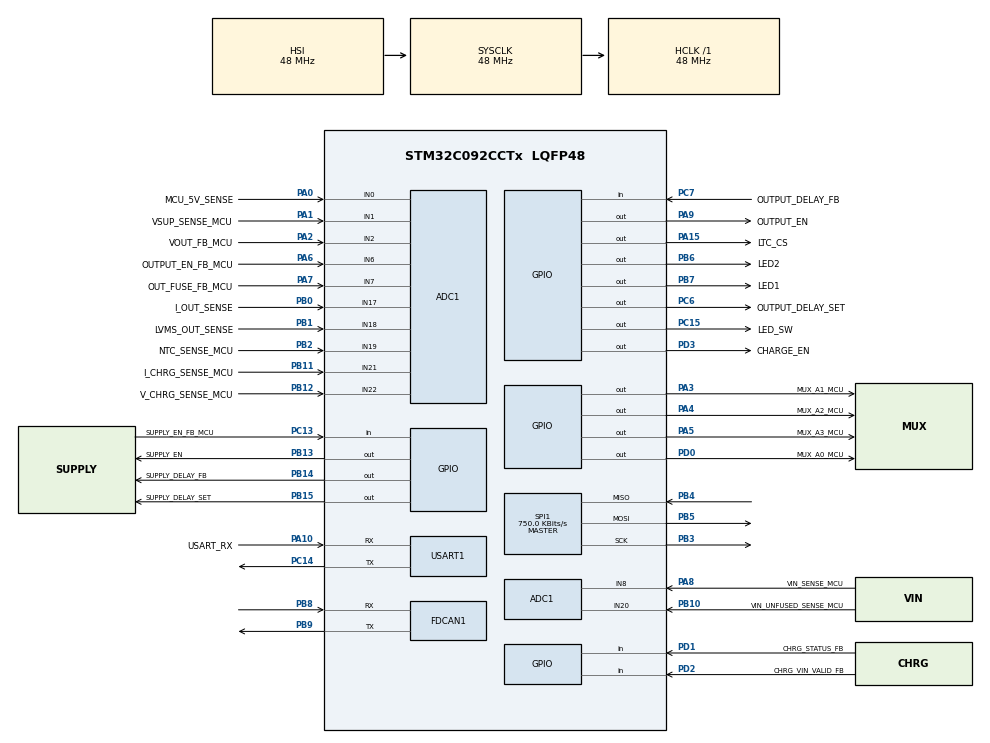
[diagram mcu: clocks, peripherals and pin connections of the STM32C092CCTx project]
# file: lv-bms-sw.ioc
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ADC1.ContinuousConvMode=DISABLE
ADC1.DMAContinuousRequests=ENABLE
ADC1.EOCSelection=ADC_EOC_SEQ_CONV
ADC1.NbrOfConversionFlag=0
ADC1.OversamplingMode=DISABLE
ADC1.SamplingTimeCommon1=ADC_SAMPLETIME_160CYCLES_5
ADC1.SelectedChannel=ADC_CHANNEL_0|ADC_CHANNEL_1|ADC_CHANNEL_2|ADC_CHANNEL_6|ADC_CHANNEL_7|ADC_CHANNEL_TEMPSENSOR|ADC_CHANNEL_VREFINT|ADC_CHANNEL_8|ADC_CHANNEL_VDDA|ADC_CHANNEL_VSSA|ADC_CHANNEL_17|ADC_CHANNEL_18|ADC_CHANNEL_19|ADC_CHANNEL_20|ADC_CHANNEL_21|ADC_CHANNEL_22
ADC1.Sequencer=NOT_FULLY_CONFIGURABLE
ADC1.master=1
Dma.ADC1.0.Direction=DMA_PERIPH_TO_MEMORY
Dma.ADC1.0.EventEnable=DISABLE
Dma.ADC1.0.Instance=DMA1_Channel1
Dma.ADC1.0.MemDataAlignment=DMA_MDATAALIGN_HALFWORD
Dma.ADC1.0.MemInc=DMA_MINC_ENABLE
Dma.ADC1.0.Mode=DMA_NORMAL
Dma.ADC1.0.PeriphDataAlignment=DMA_PDATAALIGN_HALFWORD
Dma.ADC1.0.PeriphInc=DMA_PINC_DISABLE
Dma.ADC1.0.Polarity=HAL_DMAMUX_REQ_GEN_RISING
Dma.ADC1.0.Priority=DMA_PRIORITY_LOW
Dma.ADC1.0.RequestNumber=1
Dma.ADC1.0.SignalID=NONE
Dma.ADC1.0.SyncEnable=DISABLE
Dma.ADC1.0.SyncPolarity=HAL_DMAMUX_SYNC_NO_EVENT
Dma.ADC1.0.SyncRequestNumber=1
Dma.ADC1.0.SyncSignalID=NONE
Dma.Request0=ADC1
FDCAN1.CalculateBaudRateNominal=1000000
FDCAN1.CalculateTimeBitNominal=1000
FDCAN1.CalculateTimeQuantumNominal=62.5
FDCAN1.DataPrescaler=1
FDCAN1.DataSyncJumpWidth=1
FDCAN1.NominalPrescaler=3
FDCAN1.NominalSyncJumpWidth=2
FDCAN1.NominalTimeSeg1=13
FDCAN1.NominalTimeSeg2=2
Mcu.Family=STM32C0
Mcu.Name=STM32C092CCTx
Mcu.Package=LQFP48
NVIC.ADC1_IRQn=true\:0\:0\:false\:false\:true\:true\:true\:true
NVIC.DMA1_Channel1_IRQn=true\:0\:0\:false\:false\:true\:false\:true\:true
NVIC.FDCAN1_IT0_IRQn=true\:0\:0\:false\:false\:true\:true\:true\:true
NVIC.FDCAN1_IT1_IRQn=true\:0\:0\:false\:false\:true\:true\:true\:true
NVIC.USART1_IRQn=true\:1\:0\:false\:false\:true\:true\:true\:true
PA0.GPIO_Label=MCU_5V_SENSE
PA0.Mode=IN0
PA0.Signal=ADC1_IN0
PA1.GPIO_Label=VSUP_SENSE_MCU
PA1.Mode=IN1
PA1.Signal=ADC1_IN1
PA10.GPIO_Label=USART_RX
PA10.Mode=Asynchronous
PA10.Signal=USART1_RX
PA13.Mode=Serial_Wire
PA13.Signal=DEBUG_SWDIO
PA14-BOOT0.Mode=Serial_Wire
PA14-BOOT0.Signal=DEBUG_SWCLK
PA15.GPIO_Label=LTC_CS
PA15.Signal=GPIO_Output
PA2.GPIO_Label=VOUT_FB_MCU
PA2.Mode=IN2
PA2.Signal=ADC1_IN2
PA3.GPIO_Label=MUX_A1_MCU
PA3.Signal=GPIO_Output
PA4.GPIO_Label=MUX_A2_MCU
PA4.Signal=GPIO_Output
PA5.GPIO_Label=MUX_A3_MCU
PA5.Signal=GPIO_Output
PA6.GPIO_Label=OUTPUT_EN_FB_MCU
PA6.Mode=IN6
PA6.Signal=ADC1_IN6
PA7.GPIO_Label=OUT_FUSE_FB_MCU
PA7.Mode=IN7
PA7.Signal=ADC1_IN7
PA8.GPIO_Label=VIN_SENSE_MCU
PA8.Mode=IN8
PA8.Signal=ADC1_IN8
PA9.GPIO_Label=OUTPUT_EN
PA9.Signal=GPIO_Output
PB0.GPIO_Label=I_OUT_SENSE
PB0.Mode=IN17
PB0.Signal=ADC1_IN17
PB1.GPIO_Label=LVMS_OUT_SENSE
PB1.Mode=IN18
PB1.Signal=ADC1_IN18
PB10.GPIO_Label=VIN_UNFUSED_SENSE_MCU
PB10.Mode=IN20
PB10.Signal=ADC1_IN20
PB11.GPIO_Label=I_CHRG_SENSE_MCU
PB11.Mode=IN21
PB11.Signal=ADC1_IN21
PB12.GPIO_Label=V_CHRG_SENSE_MCU
PB12.Mode=IN22
PB12.Signal=ADC1_IN22
PB13.GPIO_Label=SUPPLY_EN
PB13.Signal=GPIO_Output
PB14.GPIO_Label=SUPPLY_DELAY_FB
PB14.Signal=GPIO_Output
PB15.GPIO_Label=SUPPLY_DELAY_SET
PB15.Signal=GPIO_Output
PB2.GPIO_Label=NTC_SENSE_MCU
PB2.Mode=IN19
PB2.Signal=ADC1_IN19
PB3.Mode=Full_Duplex_Master
PB3.Signal=SPI1_SCK
PB4.Mode=Full_Duplex_Master
PB4.Signal=SPI1_MISO
PB5.Mode=Full_Duplex_Master
PB5.Signal=SPI1_MOSI
PB6.GPIO_Label=LED2
PB6.Signal=GPIO_Output
PB7.GPIO_Label=LED1
PB7.Signal=GPIO_Output
PB8.Mode=FDCAN_Activate
PB8.Signal=FDCAN1_RX
PB9.Mode=FDCAN_Activate
PB9.Signal=FDCAN1_TX
PC13.GPIO_Label=SUPPLY_EN_FB_MCU
PC13.Signal=GPIO_Input
PC14-OSCX_IN(PC14).Mode=Asynchronous
PC14-OSCX_IN(PC14).Signal=USART1_TX
PC15-OSCX_OUT(PC15).GPIO_Label=LED_SW
PC15-OSCX_OUT(PC15).Signal=GPIO_Output
PC6.GPIO_Label=OUTPUT_DELAY_SET
PC6.Signal=GPIO_Output
PC7.GPIO_Label=OUTPUT_DELAY_FB
PC7.Signal=GPIO_Input
PD0.GPIO_Label=MUX_A0_MCU
PD0.Signal=GPIO_Output
PD1.GPIO_Label=CHRG_STATUS_FB
PD1.Signal=GPIO_Input
PD2.GPIO_Label=CHRG_VIN_VALID_FB
PD2.Signal=GPIO_Input
PD3.GPIO_Label=CHARGE_EN
PD3.Signal=GPIO_Output
PF0-OSC_IN(PF0).Mode=HSE-External-Oscillator
PF0-OSC_IN(PF0).Signal=RCC_OSC_IN
PF1-OSC_OUT(PF1).Mode=HSE-External-Oscillator
PF1-OSC_OUT(PF1).Signal=RCC_OSC_OUT
ProjectManager.HeapSize=0x200
ProjectManager.StackSize=0x400
ProjectManager.TargetToolchain=Makefile
RCC.ADCFreq_Value=48000000
RCC.AHBFreq_Value=48000000
RCC.CortexFreq_Value=48000000
RCC.EXTERNAL_CLOCK_VALUE=12288000
RCC.HCLKFreq_Value=48000000
RCC.HSE_VALUE=16000000
RCC.HSISYSCLKDivider=RCC_HSI_DIV1
RCC.HSI_VALUE=48000000
RCC.LSE_VALUE=32768
RCC.SYSCLKFreq_VALUE=48000000
SPI1.BaudRatePrescaler=SPI_BAUDRATEPRESCALER_64
SPI1.CalculateBaudRate=750.0 KBits/s
SPI1.DataSize=SPI_DATASIZE_8BIT
SPI1.Direction=SPI_DIRECTION_2LINES
SPI1.Mode=SPI_MODE_MASTER
SPI1.NSSPMode=SPI_NSS_PULSE_DISABLE
SPI1.VirtualType=VM_MASTER
USART1.VirtualMode-Asynchronous=VM_ASYNC
VP_ADC1_TempSens_Input.Mode=IN-TempSens
VP_ADC1_Vdda_Input.Mode=IN-VDDA
VP_ADC1_Vref_Input.Mode=IN-Vrefint
VP_ADC1_Vssa_Input.Mode=IN-VSSA
board=custom

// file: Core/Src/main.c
/* USER CODE BEGIN Header */
/**
  ******************************************************************************
  * @file           : main.c
  * @brief          : Main program body
  ******************************************************************************
  * @attention
  *
  * Copyright (c) 2026 STMicroelectronics.
  * All rights reserved.
  *
  * This software is licensed under terms that can be found in the LICENSE file
  * in the root directory of this software component.
  * If no LICENSE file comes with this software, it is provided AS-IS.
  *
  ******************************************************************************
  */
/* USER CODE END Header */
#include "main.h"
#include "adc.h"
#include "dma.h"
#include "fdcan.h"
#include "logger.h"
#include "spi.h"
#include "temperature-api.h"
#include "timebase.h"
#include "usart.h"
#include "gpio.h"

/* USER CODE BEGIN Includes */

#include <stdio.h>

#include "fsm.h"
#include "post.h"
#include "can-communication-router-api.h"
#include "eagletrt-api.h"
#include "arena-allocator-api.h"
#include "pal-api.h"
#include "logger-api.h"
#include "bms-monitor-api.h"
#include "balancing-api.h"
#include "voltage-api.h"
#include "defines.h"
#include "current-api.h"
#include "tasks-api.h"
#include "timebase-api.h"
#include "bms-tasks-api.h"

/* USER CODE END Includes */

/* USER CODE BEGIN PD */
#define LOGGER_ENABLED (true)          /*!< Logger status: true to enable active logging, false to mute entirely. */
#define LOGGER_RX_CAPACITY (1U)        /*!< Receive queue depth. Set to 1 because the logger is transmit-only but needs to be > 0 because of arena allocator. */
#define LOGGER_TX_CAPACITY (10U)       /*!< Maximum number of log message packets allowed to sit in the outbound transmission queue. */
#define LOGGER_UART_MAX_MSG_SIZE (64U) /*!< Maximum allocation allowed for an individual log string. */
#define CONSOLE_RX_BUFFER_SIZE (8U)    /*!< Longest console command accepted, in characters. */
#define MILLI_PER_UNIT (1000.F)        /*!< Scale taking a base unit to its milli- form for the integer log fields. */
#define ROW_SIZE (48U)
#define ROW_CHANNEL_COUNT (6U)
/*! Shown in place of a reading that does not exist. */
#define NO_READING "--"
/* USER CODE END PD */

/* USER CODE BEGIN PV */

state_t current_state = STATE_INIT;
EAGLETRT_STATIC struct TimebaseHandler timebase_handler;

/* USER CODE END PV */

void SystemClock_Config(void);
/* USER CODE BEGIN PFP */

EAGLETRT_STATIC struct ArenaAllocatorHandler arena_allocator_handler;
EAGLETRT_STATIC struct PalHandler logger_pal_handler;

/* USER CODE END PFP */

/* USER CODE BEGIN 0 */

EAGLETRT_STATIC uint32_t prv_main_timebase_get_tick(void) {
    return timebase_get_tick(&timebase_handler);
}

/*!
 * \brief            Initializes the low-level memory allocation and logging framework.
 */
EAGLETRT_STATIC void prv_main_init_logging_configuration() {
    arena_allocator_api_init(&arena_allocator_handler);

    EAGLETRT_API_UNUSED(pal_api_init(&logger_pal_handler,
                                     LOGGER_RX_CAPACITY,
                                     LOGGER_TX_CAPACITY,
                                     LOGGER_UART_MAX_MSG_SIZE,
                                     NULL,
                                     usart_logger_transmit,
                                     NULL,
                                     NULL,
                                     &arena_allocator_handler));
}
/*!
 * \brief            Console state used by the NTC multiplexer command.
 *
 * \details          The serial console, typed on the same USART the logger prints on:
 *                   - a number 0..15 followed by ENTER pins the NTC multiplexer to that
 *                   channel, so a single NTC can be watched. A number out of range
 *                   releases it, so a typo cannot leave it stuck;
 *                   - 'm' releases the multiplexer explicitly;
 *                   - 'a' toggles the discharge sweep, see
 *                   prv_main_discharge_test_routine();
 *                   - 'b' toggles cell balancing, see prv_main_balancing_routine().
 *                   Anything else is ignored. The pinning itself is done by the ADC
 *                   module, which owns the address lines, so the command and the scan
 *                   loop no longer fight over them.
 */
EAGLETRT_STATIC uint8_t console_rx_char;
EAGLETRT_STATIC char console_rx_buffer[CONSOLE_RX_BUFFER_SIZE];
EAGLETRT_STATIC uint8_t console_rx_index = 0U;

/*! Set from the console interrupt, consumed by prv_main_discharge_test_routine(). */

/*!
 * \brief            Collect everything the FSM reports but does not measure itself.
 *
 * \details          The FSM may not include the HAL, so the getters are read here
 *                   and handed over as plain values.
 *
 * \param[out]       out The snapshot to fill.
 */
EAGLETRT_STATIC void prv_main_read_board_measurements(struct FsmBoardMeasurements *out) {
    if (out == NULL) {
        return;
    }

    out->vdda = adc_get_vdda();
    out->mcu_temperature = adc_get_mcu_temperature();
    out->vin = adc_get_vin();
    out->vin_unfused = adc_get_vin_unfused();
    out->vsup = adc_get_vsup();
    out->vout = adc_get_vout();
    out->lvms_out = adc_get_lvms_out();
    out->mcu_5v = adc_get_mcu_5v();
    out->charger_voltage = adc_get_charger_voltage();
    out->charger_current = adc_get_charger_current();
    out->ntc_mux_channel = adc_get_current_ntc_channel();
    out->ntc_mux_held = adc_is_mux_held();

    for (size_t i = 0U; i < DEFINES_CELLS_NTC_COUNT; ++i) {
        out->ntc_voltages[i] = adc_get_ntc_voltage(i);
    }
}

/*!
 * \brief            Render a value in its milli- unit, the form every integer field of the
 *                   log uses.
 *
 * \param[in]        value The value in its base unit.
 *
 * \returns          int The value in milli-units, truncated.
 */
EAGLETRT_STATIC int prv_milli(float value) {
    return (int)(value * MILLI_PER_UNIT);
}

/*!
 * \brief            Render a run of voltages as millivolt fields into one string.
 *
 * \param[in]        values The array to read from.
 * \param[in]        first  Index of the first value in the row.
 * \param[in]        count  Number of values in the row.
 * \param[out]       out    Buffer receiving the row, leading space included.
 * \param[in]        size   Size of \p out.
 */
EAGLETRT_STATIC void prv_format_milli_row(const volt *values, size_t first, size_t count, char *out, size_t size) {
    size_t used = 0U;
    out[0] = '\0';

    for (size_t i = 0U; i < count; ++i) {
        const int written = snprintf(out + used, size - used, " %d", prv_milli(values[first + i]));

        if (written < 0 || (size_t)written >= (size - used)) {
            break;
        }
        used += (size_t)written;
    }
}

/*!
 * \brief            Render a row of NTC temperatures into one string.
 *
 * \details          A channel flagged open or shorted is never converted, so its slot
 *                   still holds the 0 °C it was initialised with, which would read as a
 *                   real measurement near freezing. Those get a dash instead.
 *
 *                   The whole row is built here rather than passed to the logger as
 *                   floats because printf cannot pick between a number and a literal per
 *                   field, and that choice is exactly what the dash needs.
 *
 * \param[in]        first        Index of the first channel in the row.
 * \param[in]        count        Number of channels in the row.
 * \param[in]        temperatures The dumped temperatures.
 * \param[out]       out          Buffer receiving the rendered row, leading space included.
 * \param[in]        size         Size of \p out.
 */
EAGLETRT_STATIC void prv_format_temperature_row(size_t first, size_t count, const celsius *temperatures, char *out, size_t size) {
    size_t used = 0U;
    out[0] = '\0';

    for (size_t i = 0U; i < count; ++i) {
        const size_t index = first + i;
        const bool valid = temperature_api_get_channel_status(index) == TEMPERATURE_STATUS_OK;

        const int written = valid ? snprintf(out + used, size - used, " %.1f", (double)temperatures[index])
                                  : snprintf(out + used, size - used, " " NO_READING);

        /*! Stop on truncation rather than letting used run past the buffer. */
        if (written < 0 || (size_t)written >= (size - used)) {
            break;
        }
        used += (size_t)written;
    }
}

EAGLETRT_STATIC void prv_print_info() {
    volt voltages[DEFINES_CELLS_SERIES_COUNT] = { 0.F };
    voltage_api_dump_voltages(voltages, 0U, DEFINES_CELLS_SERIES_COUNT);

    celsius temperatures[DEFINES_CELLS_NTC_COUNT] = { 0.F };
    temperature_api_dump_temperatures(temperatures, 0U, DEFINES_CELLS_NTC_COUNT);

    const uint32_t open_wire = bms_monitor_api_check_open_wire();

    logger_api_log(LOGGER_LEVEL_INFO, "===== LV BMS Data =====");
    char row[ROW_SIZE];

    prv_format_milli_row(voltages, 0U, DEFINES_CELLS_SERIES_COUNT, row, sizeof(row));
    logger_api_log(LOGGER_LEVEL_INFO, "V%s", row);

    /* Every cell NTC comes from the MCU multiplexer: index n is mux channel n.
       The raw divider voltages are printed next to the temperatures because the
       NTC pull-up R59 is still unset on the schematic, so the volt-to-celsius
       curve cannot be trusted yet while the voltages can. */
    prv_format_temperature_row(0U, ROW_CHANNEL_COUNT, temperatures, row, sizeof(row));
    logger_api_log(LOGGER_LEVEL_INFO, "T_MUX0-5%s", row);

    prv_format_temperature_row(ROW_CHANNEL_COUNT, ROW_CHANNEL_COUNT, temperatures, row, sizeof(row));
    logger_api_log(LOGGER_LEVEL_INFO, "T_MUX6-11%s", row);

    logger_api_log(LOGGER_LEVEL_INFO, "VIN %d UNF %d VSUP %d", prv_milli(adc_get_vin()), prv_milli(adc_get_vin_unfused()), prv_milli(adc_get_vsup()));
    logger_api_log(LOGGER_LEVEL_INFO, "VOUT %d LVMS %d 5V %d", prv_milli(adc_get_vout()), prv_milli(adc_get_lvms_out()), prv_milli(adc_get_mcu_5v()));
    logger_api_log(LOGGER_LEVEL_INFO, "V_CHRG %d I_CHRG %d", prv_milli(adc_get_charger_voltage()), prv_milli(adc_get_charger_current()));
    /* Pack current as stored in the current module, i.e. what goes out on CAN. */
    logger_api_log(LOGGER_LEVEL_INFO, "I_OUT %d", prv_milli(current_api_get_cells_output_current()));

    logger_api_log(LOGGER_LEVEL_INFO, "OpenWire 0x%lx %s", (unsigned long)open_wire, (open_wire == 0U) ? "none" : "DETECTED");
}

struct TimebaseHandler *main_get_timebase_handler(void) {
    return &timebase_handler;
}

/* USER CODE END 0 */

int main(void) {

    /* MCU Configuration--------------------------------------------------------*/

    /* Reset of all peripherals, Initializes the Flash interface and the Systick. */
    HAL_Init();

    /* Configure the system clock */
    SystemClock_Config();

    /* USER CODE BEGIN SysInit */

    EAGLETRT_API_UNUSED(timebase_api_init(&timebase_handler, 1U));
    EAGLETRT_API_UNUSED(timebase_set_enable(&timebase_handler, true));

    /* USER CODE END SysInit */

    /* Initialize all configured peripherals */
    MX_GPIO_Init();
    MX_DMA_Init();
    MX_ADC1_Init();
    MX_FDCAN1_Init();
    MX_SPI1_Init();
    MX_USART1_UART_Init();
    /* USER CODE BEGIN 2 */

    prv_main_init_logging_configuration();
    EAGLETRT_API_UNUSED(logger_api_init(&logger_pal_handler, LOGGER_ENABLED));

    HAL_FDCAN_Start(&hfdcan1);

    struct PostInitData post_init_data = {
        .can_network_configurations = {
            [CAN_COMMUNICATION_NETWORK_PRIMARY] = {
                .cs_enter = __disable_irq,
                .cs_exit = __enable_irq,
                .on_receive = can_communication_router_api_receive_primary,
                .send = fdcan_send_primary,
            },
        },
        .bms_monitor_send = spi_bms_monitor_send,
        .bms_monitor_send_receive = spi_bms_monitor_send_receive,
        /*! do_init() needs a time base to run its pre-flight acquisition. */
        .get_tick = prv_main_timebase_get_tick,
        /*! Board services the FSM cannot reach for itself. */
        .set_master_relay = gpio_set_master_relay,
        .read_board_measurements = prv_main_read_board_measurements
    };

    current_state = run_state(STATE_INIT, &post_init_data);
    bms_tasks_api_init(prv_main_timebase_get_tick,
                       gpio_update_digital_feedbacks_task,
                       gpio_heartbeat_task);

    HAL_FDCAN_ActivateNotification(&hfdcan1, FDCAN_IT_RX_FIFO0_NEW_MESSAGE, 0);
    HAL_FDCAN_ActivateNotification(&hfdcan1, FDCAN_IT_RX_FIFO1_NEW_MESSAGE, 0);

    HAL_GPIO_WritePin(SUPPLY_EN_GPIO_Port, SUPPLY_EN_Pin, GPIO_PIN_SET);

    /*! Arm the console. Needs USART1_IRQn, enabled in HAL_UART_MspInit(). */
    HAL_UART_Receive_IT(&huart1, &console_rx_char, 1U);

    /* USER CODE END 2 */

    /* Infinite loop */
    /* USER CODE BEGIN WHILE */
    while (1) {
        bms_tasks_api_routine();
        adc_routine();
        /* USER CODE END WHILE */

    }
}

void SystemClock_Config(void) {
    RCC_OscInitTypeDef RCC_OscInitStruct = { 0 };
    RCC_ClkInitTypeDef RCC_ClkInitStruct = { 0 };

    __HAL_FLASH_SET_LATENCY(FLASH_LATENCY_1);

    /** Initializes the RCC Oscillators according to the specified parameters
  * in the RCC_OscInitTypeDef structure.
  */
    RCC_OscInitStruct.OscillatorType = RCC_OSCILLATORTYPE_HSI;
    RCC_OscInitStruct.HSIState = RCC_HSI_ON;
    RCC_OscInitStruct.HSIDiv = RCC_HSI_DIV1;
    RCC_OscInitStruct.HSICalibrationValue = RCC_HSICALIBRATION_DEFAULT;
    if (HAL_RCC_OscConfig(&RCC_OscInitStruct) != HAL_OK) {
        Error_Handler();
    }

    /** Initializes the CPU, AHB and APB buses clocks
  */
    RCC_ClkInitStruct.ClockType = RCC_CLOCKTYPE_HCLK | RCC_CLOCKTYPE_SYSCLK | RCC_CLOCKTYPE_PCLK1;
    RCC_ClkInitStruct.SYSCLKSource = RCC_SYSCLKSOURCE_HSI;
    RCC_ClkInitStruct.SYSCLKDivider = RCC_SYSCLK_DIV1;
    RCC_ClkInitStruct.AHBCLKDivider = RCC_HCLK_DIV1;
    RCC_ClkInitStruct.APB1CLKDivider = RCC_APB1_DIV1;

    if (HAL_RCC_ClockConfig(&RCC_ClkInitStruct, FLASH_LATENCY_1) != HAL_OK) {
        Error_Handler();
    }
}

/* USER CODE BEGIN 4 */

void HAL_UART_RxCpltCallback(UART_HandleTypeDef *huart) {
    if (huart->Instance != USART1) {
        return;
    }

    if (console_rx_char >= '0' && console_rx_char <= '9') {
        if (console_rx_index < (CONSOLE_RX_BUFFER_SIZE - 1U)) {
            console_rx_buffer[console_rx_index++] = (char)console_rx_char;
        }
    } else if (console_rx_char == 'i' || console_rx_char == 'A') {
        // print debug infos
        prv_print_info();
    } else if (console_rx_char == '\r' || console_rx_char == '\n') {
        if (console_rx_index > 0U) {
            uint32_t channel = 0U;
            for (uint8_t i = 0U; i < console_rx_index; ++i) {
                channel = (channel * 10U) + (uint32_t)(console_rx_buffer[i] - '0');
            }

            if (channel < DEFINES_NTC_MUX_CHANNEL_COUNT) {
                adc_set_mux_hold((size_t)channel);
            } else {
                adc_clear_mux_hold();
            }

            console_rx_index = 0U;
        }
    } else {
        console_rx_index = 0U;
    }

    HAL_UART_Receive_IT(&huart1, &console_rx_char, 1U);
}

/* USER CODE END 4 */

void Error_Handler(void) {
    __disable_irq();
    while (1) {
    }
}
